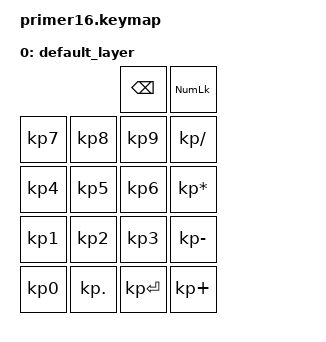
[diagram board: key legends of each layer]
#include <behaviors.dtsi>
#include <dt-bindings/zmk/keys.h>

/ {
    keymap {
        compatible = "zmk,keymap";

        default_layer {
            // -----------------------------------------------------
            // |             |  BKSP    |  NUMLK   |
            // |  7   |  8   |  9       |  /       |
            // |  4   |  5   |  6       |  *       |
            // |  1   |  2   |  3       |  -       |
            // |  0   |  .   |  ENTER   |  +       |
            bindings = <
                                       &kp BACKSPACE   &kp KP_NUMLOCK
                &kp KP_N7   &kp KP_N8   &kp KP_N9       &kp KP_DIVIDE
                &kp KP_N4   &kp KP_N5   &kp KP_N6       &kp KP_MULTIPLY
                &kp KP_N1   &kp KP_N2   &kp KP_N3       &kp KP_MINUS
                &kp KP_N0   &kp KP_DOT  &kp KP_ENTER    &kp KP_PLUS
            >;
        };
    };
};
